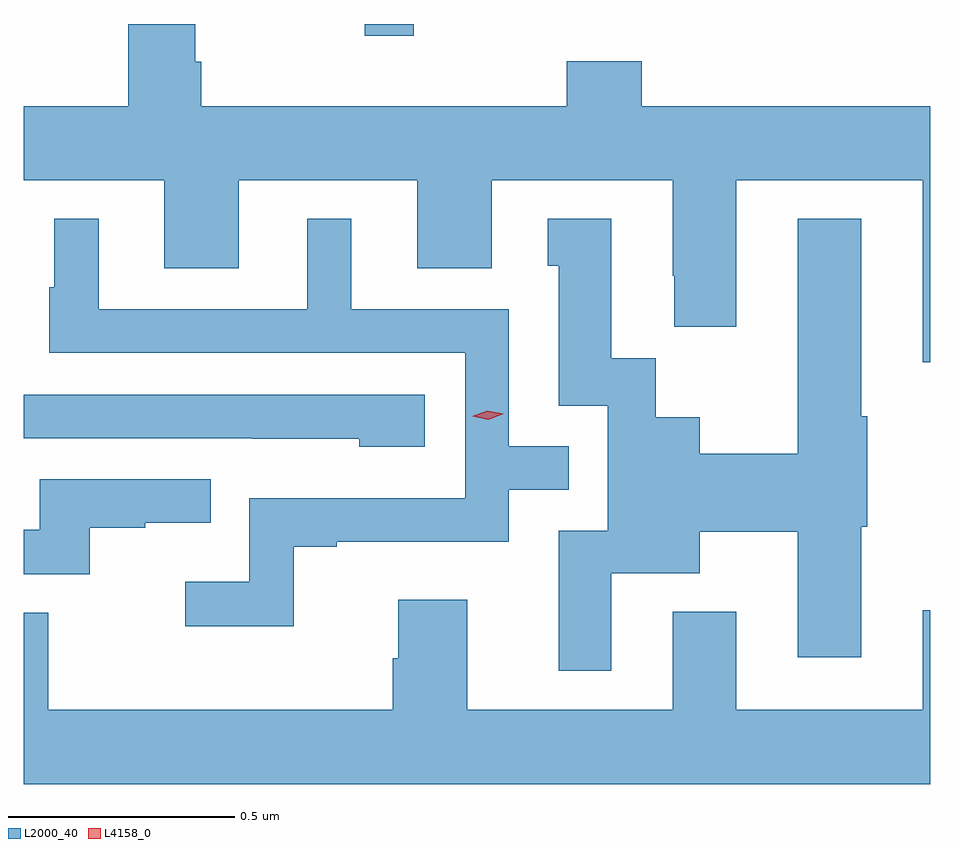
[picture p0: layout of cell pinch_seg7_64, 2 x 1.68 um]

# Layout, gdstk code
import gdstk
lib = gdstk.Library(unit=1e-6, precision=1e-09)
def R(c, l, rs):  # rectangles x0, y0, x1, y1
    for r in rs: c.add(gdstk.rectangle(r[:2], r[2:], *l))
def P(c, l, *ps):  # polygons
    for p in ps: c.add(gdstk.Polygon(p, *l))
L2000_40 = (2000, 40)
L4158_0 = (4158, 0)

pinch_seg7_64 = lib.new_cell('pinch_seg7_64')
R(pinch_seg7_64, L2000_40, [(888.927,1071.531,889.035,1071.557)])
P(pinch_seg7_64, L2000_40, [(889.538,1071.475),(889.373,1071.475),(889.373,1071.376),(888.566,1071.376),(888.566,1071.474),(888.553,1071.474),(888.553,1071.557),(888.406,1071.557),(888.406,1071.376),(888.175,1071.376),(888.175,1071.212),(888.485,1071.212),(888.485,1071.018),(888.649,1071.018),(888.649,1071.212),(889.043,1071.212),(889.043,1071.018),(889.207,1071.018),(889.207,1071.212),(889.607,1071.212),(889.607,1071.001),(889.61,1071.001),(889.61,1070.889),(889.747,1070.889),(889.747,1071.212),(890.159,1071.212),(890.159,1070.811),(890.175,1070.811),(890.175,1071.376),(889.538,1071.376)],
  [(888.771,1070.403),(888.865,1070.403),(888.865,1070.415),(889.245,1070.415),(889.245,1070.529),(889.378,1070.529),(889.378,1070.625),(889.245,1070.625),(889.245,1070.928),(888.898,1070.928),(888.898,1071.127),(888.8,1071.127),(888.8,1070.928),(888.34,1070.928),(888.34,1071.127),(888.242,1071.127),(888.242,1070.976),(888.231,1070.976),(888.231,1070.832),(889.149,1070.832),(889.149,1070.511),(888.672,1070.511),(888.672,1070.326),(888.531,1070.326),(888.531,1070.228),(888.771,1070.228)],
  [(889.471,1070.345),(889.666,1070.345),(889.666,1070.437),(889.883,1070.437),(889.883,1070.16),(890.023,1070.16),(890.023,1070.448),(890.036,1070.448),(890.036,1070.692),(890.023,1070.692),(890.023,1071.127),(889.883,1071.127),(889.883,1070.609),(889.666,1070.609),(889.666,1070.689),(889.569,1070.689),(889.569,1070.819),(889.471,1070.819),(889.471,1071.127),(889.331,1071.127),(889.331,1071.024),(889.355,1071.024),(889.355,1070.715),(889.464,1070.715),(889.464,1070.439),(889.355,1070.439),(889.355,1070.13),(889.471,1070.13)],
  [(889.06,1070.739),(888.175,1070.739),(888.175,1070.643),(888.679,1070.643),(888.679,1070.642),(888.915,1070.642),(888.915,1070.624),(889.06,1070.624)],
  [(888.32,1070.445),(888.443,1070.445),(888.443,1070.456),(888.587,1070.456),(888.587,1070.553),(888.21,1070.553),(888.21,1070.441),(888.175,1070.441),(888.175,1070.343),(888.32,1070.343)],
  [(890.175,1070.263),(890.159,1070.263),(890.159,1070.044),(889.747,1070.044),(889.747,1070.26),(889.607,1070.26),(889.607,1070.044),(889.153,1070.044),(889.153,1070.287),(889.001,1070.287),(889.001,1070.157),(888.989,1070.157),(888.989,1070.044),(888.229,1070.044),(888.229,1070.258),(888.175,1070.258),(888.175,1069.88),(890.175,1069.88)])
P(pinch_seg7_64, L4158_0, [(889.2,1070.684),(889.165,1070.692),(889.165,1070.692),(889.165,1070.692),(889.198,1070.704),(889.234,1070.697),(889.234,1070.697),(889.234,1070.697)])

lib.write_gds('pinch_seg7_64.gds')
